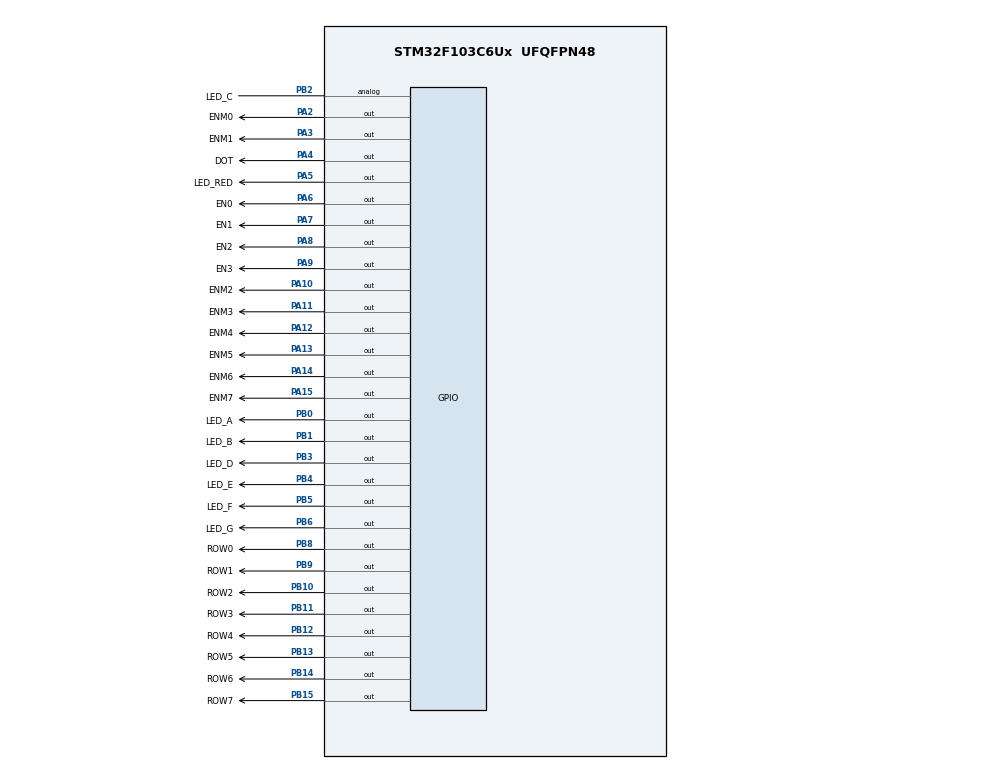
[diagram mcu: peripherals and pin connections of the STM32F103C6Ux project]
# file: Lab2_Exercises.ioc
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Mcu.Family=STM32F1
Mcu.Name=STM32F103C6Ux
Mcu.Package=UFQFPN48
NVIC.PriorityGroup=NVIC_PRIORITYGROUP_4
NVIC.TIM2_IRQn=true\:0\:0\:false\:false\:true\:true\:true
PA10.GPIO_Label=ENM2
PA10.Signal=GPIO_Output
PA11.GPIO_Label=ENM3
PA11.Signal=GPIO_Output
PA12.GPIO_Label=ENM4
PA12.Signal=GPIO_Output
PA13.GPIO_Label=ENM5
PA13.Signal=GPIO_Output
PA14.GPIO_Label=ENM6
PA14.Signal=GPIO_Output
PA15.GPIO_Label=ENM7
PA15.Signal=GPIO_Output
PA2.GPIO_Label=ENM0
PA2.Signal=GPIO_Output
PA3.GPIO_Label=ENM1
PA3.Signal=GPIO_Output
PA4.GPIO_Label=DOT
PA4.Signal=GPIO_Output
PA5.GPIO_Label=LED_RED
PA5.Signal=GPIO_Output
PA6.GPIO_Label=EN0
PA6.Signal=GPIO_Output
PA7.GPIO_Label=EN1
PA7.Signal=GPIO_Output
PA8.GPIO_Label=EN2
PA8.Signal=GPIO_Output
PA9.GPIO_Label=EN3
PA9.Signal=GPIO_Output
PB0.GPIO_Label=LED_A
PB0.Signal=GPIO_Output
PB1.GPIO_Label=LED_B
PB1.Signal=GPIO_Output
PB10.GPIO_Label=ROW2
PB10.Signal=GPIO_Output
PB11.GPIO_Label=ROW3
PB11.Signal=GPIO_Output
PB12.GPIO_Label=ROW4
PB12.Signal=GPIO_Output
PB13.GPIO_Label=ROW5
PB13.Signal=GPIO_Output
PB14.GPIO_Label=ROW6
PB14.Signal=GPIO_Output
PB15.GPIO_Label=ROW7
PB15.Signal=GPIO_Output
PB2.GPIO_Label=LED_C
PB2.Signal=GPIO_Analog
PB3.GPIO_Label=LED_D
PB3.Signal=GPIO_Output
PB4.GPIO_Label=LED_E
PB4.Signal=GPIO_Output
PB5.GPIO_Label=LED_F
PB5.Signal=GPIO_Output
PB6.GPIO_Label=LED_G
PB6.Signal=GPIO_Output
PB8.GPIO_Label=ROW0
PB8.Signal=GPIO_Output
PB9.GPIO_Label=ROW1
PB9.Signal=GPIO_Output
ProjectManager.HeapSize=0x200
ProjectManager.StackSize=0x400
ProjectManager.TargetToolchain=STM32CubeIDE
RCC.APB1Freq_Value=8000000
RCC.APB2Freq_Value=8000000
TIM2.Period=9
TIM2.Prescaler=7999
VP_SYS_VS_ND.Mode=No_Debug
VP_TIM2_VS_ClockSourceINT.Mode=Internal
board=custom

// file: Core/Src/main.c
/* USER CODE BEGIN Header */
/**
  ******************************************************************************
  * @file           : main.c
  * @brief          : Main program body
  ******************************************************************************
  * @attention
  *
  * <h2><center>&copy; Copyright (c) 2023 STMicroelectronics.
  * All rights reserved.</center></h2>
  *
  * This software component is licensed by ST under BSD 3-Clause license,
  * the "License"; You may not use this file except in compliance with the
  * License. You may obtain a copy of the License at:
  *                        opensource.org/licenses/BSD-3-Clause
  *
  ******************************************************************************
  */
/* USER CODE END Header */
#include "main.h"

TIM_HandleTypeDef htim2;

void SystemClock_Config(void);
static void MX_GPIO_Init(void);
static void MX_TIM2_Init(void);

/* USER CODE BEGIN 0 */

void display7SEG(int num){
  switch(num){
	case 0:
	  HAL_GPIO_WritePin(LED_A_GPIO_Port, LED_A_Pin, RESET);
	  HAL_GPIO_WritePin(LED_B_GPIO_Port, LED_B_Pin, RESET);
	  HAL_GPIO_WritePin(LED_C_GPIO_Port, LED_C_Pin, RESET);
	  HAL_GPIO_WritePin(LED_D_GPIO_Port, LED_D_Pin, RESET);
	  HAL_GPIO_WritePin(LED_E_GPIO_Port, LED_E_Pin, RESET);
	  HAL_GPIO_WritePin(LED_F_GPIO_Port, LED_F_Pin, RESET);
	  HAL_GPIO_WritePin(LED_G_GPIO_Port, LED_G_Pin, SET);
	  break;
	case 1:
	  HAL_GPIO_WritePin(LED_A_GPIO_Port, LED_A_Pin, SET);
	  HAL_GPIO_WritePin(LED_B_GPIO_Port, LED_B_Pin, RESET);
	  HAL_GPIO_WritePin(LED_C_GPIO_Port, LED_C_Pin, RESET);
	  HAL_GPIO_WritePin(LED_D_GPIO_Port, LED_D_Pin, SET);
	  HAL_GPIO_WritePin(LED_E_GPIO_Port, LED_E_Pin, SET);
	  HAL_GPIO_WritePin(LED_F_GPIO_Port, LED_F_Pin, SET);
	  HAL_GPIO_WritePin(LED_G_GPIO_Port, LED_G_Pin, SET);
	  break;
	case 2:
	  HAL_GPIO_WritePin(LED_A_GPIO_Port, LED_A_Pin, RESET);
	  HAL_GPIO_WritePin(LED_B_GPIO_Port, LED_B_Pin, RESET);
	  HAL_GPIO_WritePin(LED_C_GPIO_Port, LED_C_Pin, SET);
	  HAL_GPIO_WritePin(LED_D_GPIO_Port, LED_D_Pin, RESET);
	  HAL_GPIO_WritePin(LED_E_GPIO_Port, LED_E_Pin, RESET);
	  HAL_GPIO_WritePin(LED_F_GPIO_Port, LED_F_Pin, SET);
	  HAL_GPIO_WritePin(LED_G_GPIO_Port, LED_G_Pin, RESET);
	  break;
	case 3:
	  HAL_GPIO_WritePin(LED_A_GPIO_Port, LED_A_Pin, RESET);
	  HAL_GPIO_WritePin(LED_B_GPIO_Port, LED_B_Pin, RESET);
	  HAL_GPIO_WritePin(LED_C_GPIO_Port, LED_C_Pin, RESET);
	  HAL_GPIO_WritePin(LED_D_GPIO_Port, LED_D_Pin, RESET);
	  HAL_GPIO_WritePin(LED_E_GPIO_Port, LED_E_Pin, SET);
	  HAL_GPIO_WritePin(LED_F_GPIO_Port, LED_F_Pin, SET);
	  HAL_GPIO_WritePin(LED_G_GPIO_Port, LED_G_Pin, RESET);
	  break;
	case 4:
	  HAL_GPIO_WritePin(LED_A_GPIO_Port, LED_A_Pin, SET);
	  HAL_GPIO_WritePin(LED_B_GPIO_Port, LED_B_Pin, RESET);
	  HAL_GPIO_WritePin(LED_C_GPIO_Port, LED_C_Pin, RESET);
	  HAL_GPIO_WritePin(LED_D_GPIO_Port, LED_D_Pin, SET);
	  HAL_GPIO_WritePin(LED_E_GPIO_Port, LED_E_Pin, SET);
	  HAL_GPIO_WritePin(LED_F_GPIO_Port, LED_F_Pin, RESET);
	  HAL_GPIO_WritePin(LED_G_GPIO_Port, LED_G_Pin, RESET);
	  break;
	case 5:
	  HAL_GPIO_WritePin(LED_A_GPIO_Port, LED_A_Pin, RESET);
	  HAL_GPIO_WritePin(LED_B_GPIO_Port, LED_B_Pin, SET);
	  HAL_GPIO_WritePin(LED_C_GPIO_Port, LED_C_Pin, RESET);
	  HAL_GPIO_WritePin(LED_D_GPIO_Port, LED_D_Pin, RESET);
	  HAL_GPIO_WritePin(LED_E_GPIO_Port, LED_E_Pin, SET);
	  HAL_GPIO_WritePin(LED_F_GPIO_Port, LED_F_Pin, RESET);
	  HAL_GPIO_WritePin(LED_G_GPIO_Port, LED_G_Pin, RESET);
	  break;
	case 6:
	  HAL_GPIO_WritePin(LED_A_GPIO_Port, LED_A_Pin, RESET);
	  HAL_GPIO_WritePin(LED_B_GPIO_Port, LED_B_Pin, SET);
	  HAL_GPIO_WritePin(LED_C_GPIO_Port, LED_C_Pin, RESET);
	  HAL_GPIO_WritePin(LED_D_GPIO_Port, LED_D_Pin, RESET);
	  HAL_GPIO_WritePin(LED_E_GPIO_Port, LED_E_Pin, RESET);
	  HAL_GPIO_WritePin(LED_F_GPIO_Port, LED_F_Pin, RESET);
	  HAL_GPIO_WritePin(LED_G_GPIO_Port, LED_G_Pin, RESET);
	  break;
	case 7:
	  HAL_GPIO_WritePin(LED_A_GPIO_Port, LED_A_Pin, RESET);
	  HAL_GPIO_WritePin(LED_B_GPIO_Port, LED_B_Pin, RESET);
	  HAL_GPIO_WritePin(LED_C_GPIO_Port, LED_C_Pin, RESET);
	  HAL_GPIO_WritePin(LED_D_GPIO_Port, LED_D_Pin, SET);
	  HAL_GPIO_WritePin(LED_E_GPIO_Port, LED_E_Pin, SET);
	  HAL_GPIO_WritePin(LED_F_GPIO_Port, LED_F_Pin, SET);
	  HAL_GPIO_WritePin(LED_G_GPIO_Port, LED_G_Pin, SET);
	  break;
	case 8:
	  HAL_GPIO_WritePin(LED_A_GPIO_Port, LED_A_Pin, RESET);
	  HAL_GPIO_WritePin(LED_B_GPIO_Port, LED_B_Pin, RESET);
	  HAL_GPIO_WritePin(LED_C_GPIO_Port, LED_C_Pin, RESET);
	  HAL_GPIO_WritePin(LED_D_GPIO_Port, LED_D_Pin, RESET);
	  HAL_GPIO_WritePin(LED_E_GPIO_Port, LED_E_Pin, RESET);
	  HAL_GPIO_WritePin(LED_F_GPIO_Port, LED_F_Pin, RESET);
	  HAL_GPIO_WritePin(LED_G_GPIO_Port, LED_G_Pin, RESET);
	  break;
	case 9:
	  HAL_GPIO_WritePin(LED_A_GPIO_Port, LED_A_Pin, RESET);
	  HAL_GPIO_WritePin(LED_B_GPIO_Port, LED_B_Pin, RESET);
	  HAL_GPIO_WritePin(LED_C_GPIO_Port, LED_C_Pin, RESET);
	  HAL_GPIO_WritePin(LED_D_GPIO_Port, LED_D_Pin, RESET);
	  HAL_GPIO_WritePin(LED_E_GPIO_Port, LED_E_Pin, SET);
	  HAL_GPIO_WritePin(LED_F_GPIO_Port, LED_F_Pin, RESET);
	  HAL_GPIO_WritePin(LED_G_GPIO_Port, LED_G_Pin, RESET);
	  break;
	default:
	  break;
  }
}

int timer1_counter = 0;
int timer1_flag = 0;
int timer2_counter = 0;
int timer2_flag = 0;

void setTimer1(int duration){
	timer1_counter = duration;
	timer1_flag = 0;
}
void setTimer2(int duration){
	timer2_counter = duration;
	timer2_flag = 0;
}
void timerRun(){
	if(timer1_counter > 0){
		timer1_counter--;
		if(timer1_counter <= 0){
			timer1_flag = 1;
		}
	}
	if(timer2_counter > 0){
		timer2_counter--;
		if(timer2_counter <= 0){
			timer2_flag = 1;
		}
	}
}
/* USER CODE END 0 */

int main(void)
{

  /* MCU Configuration--------------------------------------------------------*/

  /* Reset of all peripherals, Initializes the Flash interface and the Systick. */
  HAL_Init();

  /* USER CODE BEGIN Init */
  setTimer1(50);
  setTimer2(100);
  int num = 1;
  /* USER CODE END Init */

  /* Configure the system clock */
  SystemClock_Config();

  /* Initialize all configured peripherals */
  MX_GPIO_Init();
  MX_TIM2_Init();
  /* USER CODE BEGIN 2 */
  HAL_TIM_Base_Start_IT(&htim2);
  const int MAX_LED = 4;
  int index_led = 0;
  int led_buffer [4] = {1, 2, 3, 4};
  void update7SEG (int index) {
	  display7SEG(led_buffer[index]);
	  switch (index){
	  	  case 0:
	  		  HAL_GPIO_WritePin(GPIOA, EN0_Pin, RESET);
		      HAL_GPIO_WritePin(GPIOA, EN1_Pin, SET);
		      HAL_GPIO_WritePin(GPIOA, EN2_Pin, SET);
		      HAL_GPIO_WritePin(GPIOA, EN3_Pin, SET);
	  		  break ;
	  	  case 1:
	  		  HAL_GPIO_WritePin(GPIOA, EN0_Pin, SET);
			  HAL_GPIO_WritePin(GPIOA, EN1_Pin, RESET);
			  HAL_GPIO_WritePin(GPIOA, EN2_Pin, SET);
			  HAL_GPIO_WritePin(GPIOA, EN3_Pin, SET);
	  		  break ;
	  	  case 2:
	  		  HAL_GPIO_WritePin(GPIOA, EN0_Pin, SET);
			  HAL_GPIO_WritePin(GPIOA, EN1_Pin, SET);
			  HAL_GPIO_WritePin(GPIOA, EN2_Pin, RESET);
			  HAL_GPIO_WritePin(GPIOA, EN3_Pin, SET);
	  		  break ;
	  	  case 3:
	  		  HAL_GPIO_WritePin(GPIOA, EN0_Pin, SET);
			  HAL_GPIO_WritePin(GPIOA, EN1_Pin, SET);
			  HAL_GPIO_WritePin(GPIOA, EN2_Pin, SET);
			  HAL_GPIO_WritePin(GPIOA, EN3_Pin, RESET);
	  		  break ;
	  	  default:
	  		  break ;
	  }
  }
  /* USER CODE END 2 */

  /* Infinite loop */
	while (1)
	{
	  if (timer1_flag == 1){
		  update7SEG(index_led++);
		  index_led %= 4;
		  setTimer1(25);
	  }
	  if (timer2_flag == 1){
		  HAL_GPIO_TogglePin(GPIOA, LED_RED_Pin);
		  HAL_GPIO_TogglePin(GPIOA, DOT_Pin);
		  setTimer2(100);
	  }

	}
}

void SystemClock_Config(void)
{
  RCC_OscInitTypeDef RCC_OscInitStruct = {0};
  RCC_ClkInitTypeDef RCC_ClkInitStruct = {0};

  /** Initializes the RCC Oscillators according to the specified parameters
  * in the RCC_OscInitTypeDef structure.
  */
  RCC_OscInitStruct.OscillatorType = RCC_OSCILLATORTYPE_HSI;
  RCC_OscInitStruct.HSIState = RCC_HSI_ON;
  RCC_OscInitStruct.HSICalibrationValue = RCC_HSICALIBRATION_DEFAULT;
  RCC_OscInitStruct.PLL.PLLState = RCC_PLL_NONE;
  if (HAL_RCC_OscConfig(&RCC_OscInitStruct) != HAL_OK)
  {
    Error_Handler();
  }
  /** Initializes the CPU, AHB and APB buses clocks
  */
  RCC_ClkInitStruct.ClockType = RCC_CLOCKTYPE_HCLK|RCC_CLOCKTYPE_SYSCLK
                              |RCC_CLOCKTYPE_PCLK1|RCC_CLOCKTYPE_PCLK2;
  RCC_ClkInitStruct.SYSCLKSource = RCC_SYSCLKSOURCE_HSI;
  RCC_ClkInitStruct.AHBCLKDivider = RCC_SYSCLK_DIV1;
  RCC_ClkInitStruct.APB1CLKDivider = RCC_HCLK_DIV1;
  RCC_ClkInitStruct.APB2CLKDivider = RCC_HCLK_DIV1;

  if (HAL_RCC_ClockConfig(&RCC_ClkInitStruct, FLASH_LATENCY_0) != HAL_OK)
  {
    Error_Handler();
  }
}

static void MX_TIM2_Init(void)
{

  TIM_ClockConfigTypeDef sClockSourceConfig = {0};
  TIM_MasterConfigTypeDef sMasterConfig = {0};

  htim2.Instance = TIM2;
  htim2.Init.Prescaler = 7999;
  htim2.Init.CounterMode = TIM_COUNTERMODE_UP;
  htim2.Init.Period = 9;
  htim2.Init.ClockDivision = TIM_CLOCKDIVISION_DIV1;
  htim2.Init.AutoReloadPreload = TIM_AUTORELOAD_PRELOAD_DISABLE;
  if (HAL_TIM_Base_Init(&htim2) != HAL_OK)
  {
    Error_Handler();
  }
  sClockSourceConfig.ClockSource = TIM_CLOCKSOURCE_INTERNAL;
  if (HAL_TIM_ConfigClockSource(&htim2, &sClockSourceConfig) != HAL_OK)
  {
    Error_Handler();
  }
  sMasterConfig.MasterOutputTrigger = TIM_TRGO_RESET;
  sMasterConfig.MasterSlaveMode = TIM_MASTERSLAVEMODE_DISABLE;
  if (HAL_TIMEx_MasterConfigSynchronization(&htim2, &sMasterConfig) != HAL_OK)
  {
    Error_Handler();
  }

}

static void MX_GPIO_Init(void)
{
  GPIO_InitTypeDef GPIO_InitStruct = {0};

  /* GPIO Ports Clock Enable */
  __HAL_RCC_GPIOA_CLK_ENABLE();
  __HAL_RCC_GPIOB_CLK_ENABLE();

  /*Configure GPIO pin Output Level */
  HAL_GPIO_WritePin(GPIOA, DOT_Pin|LED_RED_Pin|EN0_Pin|EN1_Pin
                          |EN2_Pin|EN3_Pin, GPIO_PIN_RESET);

  /*Configure GPIO pin Output Level */
  HAL_GPIO_WritePin(GPIOB, LED_A_Pin|LED_B_Pin|LED_C_Pin|LED_D_Pin
                          |LED_E_Pin|LED_F_Pin|LED_G_Pin, GPIO_PIN_RESET);

  /*Configure GPIO pins : DOT_Pin LED_RED_Pin EN0_Pin EN1_Pin
                           EN2_Pin EN3_Pin */
  GPIO_InitStruct.Pin = DOT_Pin|LED_RED_Pin|EN0_Pin|EN1_Pin
                          |EN2_Pin|EN3_Pin;
  GPIO_InitStruct.Mode = GPIO_MODE_OUTPUT_PP;
  GPIO_InitStruct.Pull = GPIO_NOPULL;
  GPIO_InitStruct.Speed = GPIO_SPEED_FREQ_LOW;
  HAL_GPIO_Init(GPIOA, &GPIO_InitStruct);

  /*Configure GPIO pins : LED_A_Pin LED_B_Pin LED_C_Pin LED_D_Pin
                           LED_E_Pin LED_F_Pin LED_G_Pin */
  GPIO_InitStruct.Pin = LED_A_Pin|LED_B_Pin|LED_C_Pin|LED_D_Pin
                          |LED_E_Pin|LED_F_Pin|LED_G_Pin;
  GPIO_InitStruct.Mode = GPIO_MODE_OUTPUT_PP;
  GPIO_InitStruct.Pull = GPIO_NOPULL;
  GPIO_InitStruct.Speed = GPIO_SPEED_FREQ_LOW;
  HAL_GPIO_Init(GPIOB, &GPIO_InitStruct);

}

/* USER CODE BEGIN 4 */
void HAL_TIM_PeriodElapsedCallback (TIM_HandleTypeDef *htim){
	timerRun();

}
/* USER CODE END 4 */

void Error_Handler(void)
{
  __disable_irq();
  while (1)
  {
  }
}

/************************ (C) COPYRIGHT STMicroelectronics *****END OF FILE****/
